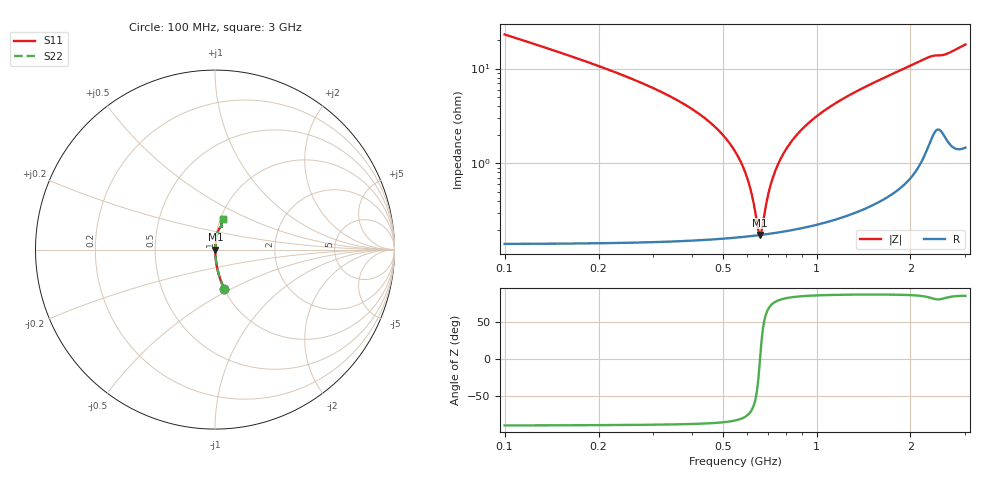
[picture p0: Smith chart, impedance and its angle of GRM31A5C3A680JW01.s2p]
!Murata Part Number: GRM31A5C3A680JW01
!These Parameters are Measured in Series Mode Connection
!Data Generated on Mar 30, 2021
!  o--ll--o
!Port1  Port2
!  o------o
!Operation Temp=25[degC], DC Bias Voltage=0[V]
!Freq. Start=100[MHz] Stop=3[GHz] 401[Steps]
# Hz S RI R 50
!Freq.(Hz) S11(Real) S11(Imag) S21(Real) S21(Imag) S12(Real) S12(Imag) S22(Real) S22(Imag)
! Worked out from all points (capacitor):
!   401 points, 100 MHz to 3 GHz, reference 50 ohm
!   read as one part in series: C = 68 pF near 114.5 MHz
!   lowest |Z| = 175 mohm at 658.2 MHz (marker M1)
!   series resonance near 658.9 MHz, so ESL is about 860 pH
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1e8  0.0509 -0.2168  0.9491 0.2168  0.9491 0.2168  0.0509 -0.2168
2.305e8  0.0093 -0.0883  0.9907 0.0883  0.9907 0.0883  0.0093 -0.0883
4.77e8  0.00213 -0.0234  0.9979 0.0234  0.9979 0.0234  0.00213 -0.0234
5.4225e8  0.00183 -0.014  0.9982 0.014  0.9982 0.014  0.00183 -0.014
5.8575e8  0.00174 -0.00841  0.9983 0.00841  0.9983 0.00841  0.00174 -0.00841
6.1475e8  0.00173 -0.00496  0.9983 0.00496  0.9983 0.00496  0.00173 -0.00496
6.4375e8  0.00173 -0.00166  0.9983 0.00166  0.9983 0.00166  0.00173 -0.00166
6.5825e8  0.00175 -6.97e-05  0.9983 6.97e-05  0.9983 6.97e-05  0.00175 -6.97e-05
6.7275e8  0.00176 0.00149  0.9982 -0.00149  0.9982 -0.00149  0.00176 0.00149
7.0175e8  0.00182 0.00451  0.9982 -0.00451  0.9982 -0.00451  0.00182 0.00451
7.235e8  0.00187 0.00671  0.9981 -0.00671  0.9981 -0.00671  0.00187 0.00671
7.525e8  0.00195 0.00955  0.9981 -0.00955  0.9981 -0.00955  0.00195 0.00955
7.8875e8  0.00207 0.013  0.9979 -0.013  0.9979 -0.013  0.00207 0.013
8.395e8  0.00229 0.0176  0.9977 -0.0176  0.9977 -0.0176  0.00229 0.0176
9.0475e8  0.00262 0.0232  0.9974 -0.0232  0.9974 -0.0232  0.00262 0.0232
1.0715e9  0.00372 0.0367  0.9963 -0.0367  0.9963 -0.0367  0.00372 0.0367
1.2745e9  0.00555 0.0519  0.9945 -0.0519  0.9945 -0.0519  0.00555 0.0519
1.55e9  0.00892 0.0717  0.9911 -0.0717  0.9911 -0.0717  0.00892 0.0717
2.03575e9  0.0191 0.1072  0.9809 -0.1072  0.9809 -0.1072  0.0191 0.1072
2.31125e9  0.0328 0.1259  0.9672 -0.1259  0.9672 -0.1259  0.0328 0.1259
2.5215e9  0.038 0.1286  0.962 -0.1286  0.962 -0.1286  0.038 0.1286
3e9  0.0441 0.1684  0.9559 -0.1684  0.9559 -0.1684  0.0441 0.1684
